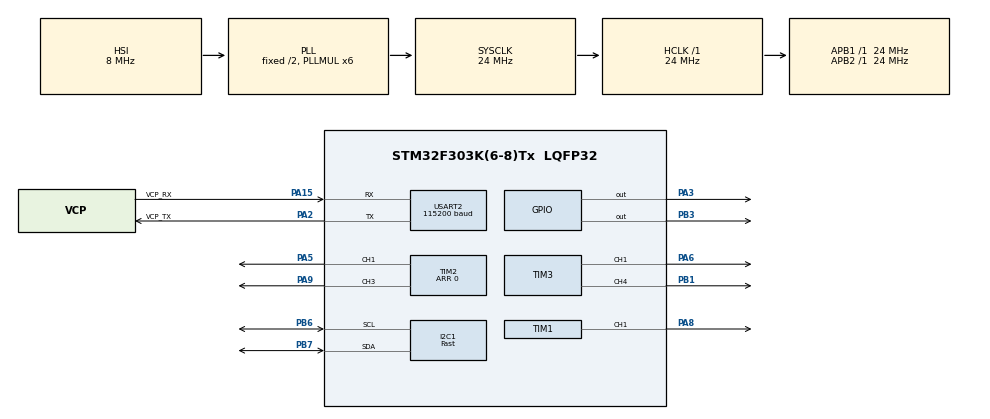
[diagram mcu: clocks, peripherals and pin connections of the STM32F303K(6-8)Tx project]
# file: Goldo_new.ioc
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Dma.Request0=TIM2_CH1
Dma.Request1=TIM2_CH3
Dma.Request2=TIM3_CH1/TRIG
Dma.Request3=TIM3_CH4/UP
Dma.Request4=TIM1_CH1
Dma.TIM1_CH1.4.Direction=DMA_MEMORY_TO_PERIPH
Dma.TIM1_CH1.4.Instance=DMA1_Channel2
Dma.TIM1_CH1.4.MemDataAlignment=DMA_MDATAALIGN_WORD
Dma.TIM1_CH1.4.MemInc=DMA_MINC_ENABLE
Dma.TIM1_CH1.4.Mode=DMA_NORMAL
Dma.TIM1_CH1.4.PeriphDataAlignment=DMA_PDATAALIGN_HALFWORD
Dma.TIM1_CH1.4.PeriphInc=DMA_PINC_DISABLE
Dma.TIM1_CH1.4.Priority=DMA_PRIORITY_HIGH
Dma.TIM2_CH1.0.Direction=DMA_MEMORY_TO_PERIPH
Dma.TIM2_CH1.0.Instance=DMA1_Channel5
Dma.TIM2_CH1.0.MemDataAlignment=DMA_MDATAALIGN_WORD
Dma.TIM2_CH1.0.MemInc=DMA_MINC_ENABLE
Dma.TIM2_CH1.0.Mode=DMA_NORMAL
Dma.TIM2_CH1.0.PeriphDataAlignment=DMA_PDATAALIGN_WORD
Dma.TIM2_CH1.0.PeriphInc=DMA_PINC_DISABLE
Dma.TIM2_CH1.0.Priority=DMA_PRIORITY_HIGH
Dma.TIM2_CH3.1.Direction=DMA_MEMORY_TO_PERIPH
Dma.TIM2_CH3.1.Instance=DMA1_Channel1
Dma.TIM2_CH3.1.MemDataAlignment=DMA_MDATAALIGN_WORD
Dma.TIM2_CH3.1.MemInc=DMA_MINC_ENABLE
Dma.TIM2_CH3.1.Mode=DMA_NORMAL
Dma.TIM2_CH3.1.PeriphDataAlignment=DMA_PDATAALIGN_WORD
Dma.TIM2_CH3.1.PeriphInc=DMA_PINC_DISABLE
Dma.TIM2_CH3.1.Priority=DMA_PRIORITY_HIGH
Dma.TIM3_CH1/TRIG.2.Direction=DMA_MEMORY_TO_PERIPH
Dma.TIM3_CH1/TRIG.2.Instance=DMA1_Channel6
Dma.TIM3_CH1/TRIG.2.MemDataAlignment=DMA_MDATAALIGN_WORD
Dma.TIM3_CH1/TRIG.2.MemInc=DMA_MINC_ENABLE
Dma.TIM3_CH1/TRIG.2.Mode=DMA_NORMAL
Dma.TIM3_CH1/TRIG.2.PeriphDataAlignment=DMA_PDATAALIGN_HALFWORD
Dma.TIM3_CH1/TRIG.2.PeriphInc=DMA_PINC_DISABLE
Dma.TIM3_CH1/TRIG.2.Priority=DMA_PRIORITY_HIGH
Dma.TIM3_CH4/UP.3.Direction=DMA_MEMORY_TO_PERIPH
Dma.TIM3_CH4/UP.3.Instance=DMA1_Channel3
Dma.TIM3_CH4/UP.3.MemDataAlignment=DMA_MDATAALIGN_WORD
Dma.TIM3_CH4/UP.3.MemInc=DMA_MINC_ENABLE
Dma.TIM3_CH4/UP.3.Mode=DMA_NORMAL
Dma.TIM3_CH4/UP.3.PeriphDataAlignment=DMA_PDATAALIGN_HALFWORD
Dma.TIM3_CH4/UP.3.PeriphInc=DMA_PINC_DISABLE
Dma.TIM3_CH4/UP.3.Priority=DMA_PRIORITY_HIGH
I2C1.Analog_Filter=I2C_ANALOGFILTER_DISABLE
I2C1.I2C_Speed_Mode=I2C_Fast
I2C1.Timing=0x0000020C
Mcu.Family=STM32F3
Mcu.Name=STM32F303K(6-8)Tx
Mcu.Package=LQFP32
NVIC.DMA1_Channel1_IRQn=true\:0\:0\:false\:false\:true\:false\:true\:true
NVIC.DMA1_Channel2_IRQn=true\:0\:0\:false\:false\:true\:false\:true\:true
NVIC.DMA1_Channel3_IRQn=true\:0\:0\:false\:false\:true\:false\:true\:true
NVIC.DMA1_Channel5_IRQn=true\:0\:0\:false\:false\:true\:false\:true\:true
NVIC.DMA1_Channel6_IRQn=true\:0\:0\:false\:false\:true\:false\:true\:true
NVIC.PriorityGroup=NVIC_PRIORITYGROUP_4
NVIC.TIM6_DAC1_IRQn=true\:0\:0\:false\:false\:true\:true\:true\:true
PA13.GPIO_Label=SWDIO
PA13.Mode=Serial_Wire
PA13.Signal=SYS_JTMS-SWDIO
PA14.GPIO_Label=SWCLK
PA14.Mode=Serial_Wire
PA14.Signal=SYS_JTCK-SWCLK
PA15.GPIO_Label=VCP_RX
PA15.Mode=Asynchronous
PA15.Signal=USART2_RX
PA2.GPIO_Label=VCP_TX
PA2.Mode=Asynchronous
PA2.Signal=USART2_TX
PA3.Signal=GPIO_Output
PA5.Signal=S_TIM2_CH1_ETR
PA6.Signal=S_TIM3_CH1
PA8.Signal=S_TIM1_CH1
PA9.Signal=S_TIM2_CH3
PB1.Signal=S_TIM3_CH4
PB3.Signal=GPIO_Output
PB6.GPIO_FM6=SYSCFG_CFGR1_I2C_PB6_FMP
PB6.GPIO_Pu=GPIO_NOPULL
PB6.Mode=I2C
PB6.Signal=I2C1_SCL
PB7.GPIO_FM7=SYSCFG_CFGR1_I2C_PB7_FMP
PB7.GPIO_Pu=GPIO_NOPULL
PB7.Mode=I2C
PB7.Signal=I2C1_SDA
ProjectManager.HeapSize=0x200
ProjectManager.StackSize=0x400
ProjectManager.TargetToolchain=Makefile
RCC.AHBFreq_Value=24000000
RCC.APB1Freq_Value=24000000
RCC.APB1TimFreq_Value=24000000
RCC.APB2Freq_Value=24000000
RCC.APB2TimFreq_Value=24000000
RCC.CortexFreq_Value=24000000
RCC.HCLKFreq_Value=24000000
RCC.HSE_VALUE=8000000
RCC.HSI_VALUE=8000000
RCC.PLLMUL=RCC_PLL_MUL6
RCC.SYSCLKFreq_VALUE=24000000
RCC.SYSCLKSourceVirtual=RCC_SYSCLKSOURCE_PLLCLK
SH.S_TIM1_CH1.0=TIM1_CH1,PWM Generation1 CH1
SH.S_TIM2_CH1_ETR.0=TIM2_CH1,PWM Generation1 CH1
SH.S_TIM2_CH3.0=TIM2_CH3,PWM Generation3 CH3
SH.S_TIM3_CH1.0=TIM3_CH1,PWM Generation1 CH1
SH.S_TIM3_CH4.0=TIM3_CH4,PWM Generation4 CH4
TIM1.Channel-PWM\ Generation1\ CH1=TIM_CHANNEL_1
TIM2.Channel-PWM\ Generation1\ CH1=TIM_CHANNEL_1
TIM2.Channel-PWM\ Generation3\ CH3=TIM_CHANNEL_3
TIM2.Period=0
TIM3.Channel-PWM\ Generation1\ CH1=TIM_CHANNEL_1
TIM3.Channel-PWM\ Generation4\ CH4=TIM_CHANNEL_4
TIM6.Period=24
TIM6.Prescaler=1000
USART2.BaudRate=115200
USART2.VirtualMode-Asynchronous=VM_ASYNC
VP_TIM6_VS_ClockSourceINT.Mode=Enable_Timer
board=NUCLEO-F303K8

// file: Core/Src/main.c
/* USER CODE BEGIN Header */
/**
  ******************************************************************************
  * @file           : main.c
  * @brief          : Main program body
  ******************************************************************************
  * @attention
  *
  * Copyright (c) 2023 STMicroelectronics.
  * All rights reserved.
  *
  * This software is licensed under terms that can be found in the LICENSE file
  * in the root directory of this software component.
  * If no LICENSE file comes with this software, it is provided AS-IS.
  *
  ******************************************************************************
  */
/* USER CODE END Header */
#include "main.h"

/* USER CODE BEGIN Includes */
#include "dshot.h"
#include <string.h>
#include <stdio.h>
/* USER CODE END Includes */

/* USER CODE BEGIN PM */
#define DSHOT_SPEED DSHOT150
/* USER CODE END PM */

I2C_HandleTypeDef hi2c1;

TIM_HandleTypeDef htim1;
TIM_HandleTypeDef htim2;
TIM_HandleTypeDef htim3;
TIM_HandleTypeDef htim6;
DMA_HandleTypeDef hdma_tim1_ch1;
DMA_HandleTypeDef hdma_tim2_ch1;
DMA_HandleTypeDef hdma_tim2_ch3;
DMA_HandleTypeDef hdma_tim3_ch1_trig;
DMA_HandleTypeDef hdma_tim3_ch4_up;

UART_HandleTypeDef huart2;

void SystemClock_Config(void);
static void MX_GPIO_Init(void);
static void MX_DMA_Init(void);
static void MX_USART2_UART_Init(void);
static void MX_TIM2_Init(void);
static void MX_TIM6_Init(void);
static void MX_TIM3_Init(void);
static void MX_TIM1_Init(void);
static void MX_I2C1_Init(void);

/* USER CODE BEGIN 0 */
uint8_t uart_buf[32] = "testTESTtestTESTtestTESTtestTEST";
uint16_t my_motor_value[5] = {0, 0, 0, 0, 0};
uint8_t i2c_buf[16] = {0};
/* USER CODE END 0 */

int main(void)
{
  /* USER CODE BEGIN 1 */
  HAL_StatusTypeDef res;
  int msg_len = 0;
  int dshot_idx = 0;

  /* USER CODE END 1 */

  /* MCU Configuration--------------------------------------------------------*/

  /* Reset of all peripherals, Initializes the Flash interface and the Systick. */
  HAL_Init();

  /* Configure the system clock */
  SystemClock_Config();

  /* Initialize all configured peripherals */
  MX_GPIO_Init();
  MX_DMA_Init();
  MX_USART2_UART_Init();
  MX_TIM2_Init();
  MX_TIM6_Init();
  MX_TIM3_Init();
  MX_TIM1_Init();
  MX_I2C1_Init();
  /* USER CODE BEGIN 2 */
  HAL_TIM_Base_Start_IT(&htim6);

  sprintf ((char *)uart_buf, "DSHOT INIT %d\n", DSHOT_SPEED);
  msg_len = strlen((char *)uart_buf);
  if (msg_len>sizeof(uart_buf)) msg_len = sizeof(uart_buf);
  HAL_UART_Transmit(&huart2, uart_buf, msg_len, 100);

  dshot_init(DSHOT_SPEED);

  res = HAL_I2C_Master_Receive(&hi2c1, 0xf1, i2c_buf, 4, 200);
  if (res == HAL_OK)
  {
    sprintf ((char *)uart_buf, "I2C : %d %d %d %d\n", (int)i2c_buf[0], (int)i2c_buf[1], (int)i2c_buf[2], (int)i2c_buf[3]);
    msg_len = strlen((char *)uart_buf);
    if (msg_len>sizeof(uart_buf)) msg_len = sizeof(uart_buf);
    HAL_UART_Transmit(&huart2, uart_buf, msg_len, 100);
  }
  else
  {
    sprintf ((char *)uart_buf, "I2C : ERROR (retrying)\n");
    msg_len = strlen((char *)uart_buf);
    if (msg_len>sizeof(uart_buf)) msg_len = sizeof(uart_buf);
    HAL_UART_Transmit(&huart2, uart_buf, msg_len, 100);

    res = HAL_I2C_Master_Receive(&hi2c1, 0xf1, i2c_buf, 4, 200);
    if (res == HAL_OK)
    {
      sprintf ((char *)uart_buf, "I2C : %d %d %d %d\n", (int)i2c_buf[0], (int)i2c_buf[1], (int)i2c_buf[2], (int)i2c_buf[3]);
      msg_len = strlen((char *)uart_buf);
      if (msg_len>sizeof(uart_buf)) msg_len = sizeof(uart_buf);
      HAL_UART_Transmit(&huart2, uart_buf, msg_len, 100);
    }
    else
    {
      sprintf ((char *)uart_buf, "I2C : ERROR (again)\n");
      msg_len = strlen((char *)uart_buf);
      if (msg_len>sizeof(uart_buf)) msg_len = sizeof(uart_buf);
      HAL_UART_Transmit(&huart2, uart_buf, msg_len, 100);
    }
  }
  /* USER CODE END 2 */

  /* Infinite loop */
  /* USER CODE BEGIN WHILE */
  while (1)
  {
    uart_buf[0] = 0x20;
    res = HAL_UART_Receive(&huart2, uart_buf, 1, 1);
    if (res == HAL_OK)
    {
      if (uart_buf[0]=='t')
      {
        uart_buf[0] = '*';
        HAL_GPIO_TogglePin(GPIOB, GPIO_PIN_3);
        my_motor_value[0] = 0;
        my_motor_value[1] = 0;
        my_motor_value[2] = 0;
        my_motor_value[3] = 0;
        my_motor_value[4] = 0;
      }
      else if ((uart_buf[0]>='0') && (uart_buf[0]<='9'))
      {
        int gain = (uart_buf[0]-0x30);
        //uart_buf[0] = '0';
        my_motor_value[dshot_idx] = gain*100;
      }
      else if (uart_buf[0]=='A')
      {
        dshot_idx = 0;
        uart_buf[0] = 'A';
      }
      else if (uart_buf[0]=='B')
      {
        dshot_idx = 1;
        uart_buf[0] = 'B';
      }
      else if (uart_buf[0]=='C')
      {
        dshot_idx = 2;
        uart_buf[0] = 'C';
      }
      else if (uart_buf[0]=='D')
      {
        dshot_idx = 3;
        uart_buf[0] = 'D';
      }
      else if (uart_buf[0]=='E')
      {
        dshot_idx = 4;
        uart_buf[0] = 'E';
      }
      else
      {
        uart_buf[0] = '/';
      }
      HAL_UART_Transmit(&huart2, uart_buf, 1, 100);
    }
    else if (res != HAL_TIMEOUT)
    {
      uart_buf[0] = '!';
      HAL_UART_Transmit(&huart2, uart_buf, 1, 100);
    }
	  HAL_Delay(200);
    /* USER CODE END WHILE */

  }
}

void SystemClock_Config(void)
{
  RCC_OscInitTypeDef RCC_OscInitStruct = {0};
  RCC_ClkInitTypeDef RCC_ClkInitStruct = {0};
  RCC_PeriphCLKInitTypeDef PeriphClkInit = {0};

  /** Initializes the RCC Oscillators according to the specified parameters
  * in the RCC_OscInitTypeDef structure.
  */
  RCC_OscInitStruct.OscillatorType = RCC_OSCILLATORTYPE_HSI;
  RCC_OscInitStruct.HSIState = RCC_HSI_ON;
  RCC_OscInitStruct.HSICalibrationValue = RCC_HSICALIBRATION_DEFAULT;
  RCC_OscInitStruct.PLL.PLLState = RCC_PLL_ON;
  RCC_OscInitStruct.PLL.PLLSource = RCC_PLLSOURCE_HSI;
  RCC_OscInitStruct.PLL.PLLMUL = RCC_PLL_MUL6;
  if (HAL_RCC_OscConfig(&RCC_OscInitStruct) != HAL_OK)
  {
    Error_Handler();
  }

  /** Initializes the CPU, AHB and APB buses clocks
  */
  RCC_ClkInitStruct.ClockType = RCC_CLOCKTYPE_HCLK|RCC_CLOCKTYPE_SYSCLK
                              |RCC_CLOCKTYPE_PCLK1|RCC_CLOCKTYPE_PCLK2;
  RCC_ClkInitStruct.SYSCLKSource = RCC_SYSCLKSOURCE_PLLCLK;
  RCC_ClkInitStruct.AHBCLKDivider = RCC_SYSCLK_DIV1;
  RCC_ClkInitStruct.APB1CLKDivider = RCC_HCLK_DIV1;
  RCC_ClkInitStruct.APB2CLKDivider = RCC_HCLK_DIV1;

  if (HAL_RCC_ClockConfig(&RCC_ClkInitStruct, FLASH_LATENCY_0) != HAL_OK)
  {
    Error_Handler();
  }
  PeriphClkInit.PeriphClockSelection = RCC_PERIPHCLK_I2C1|RCC_PERIPHCLK_TIM1;
  PeriphClkInit.I2c1ClockSelection = RCC_I2C1CLKSOURCE_HSI;
  PeriphClkInit.Tim1ClockSelection = RCC_TIM1CLK_HCLK;
  if (HAL_RCCEx_PeriphCLKConfig(&PeriphClkInit) != HAL_OK)
  {
    Error_Handler();
  }
}

static void MX_I2C1_Init(void)
{

  hi2c1.Instance = I2C1;
  hi2c1.Init.Timing = 0x0000020C;
  hi2c1.Init.OwnAddress1 = 0;
  hi2c1.Init.AddressingMode = I2C_ADDRESSINGMODE_7BIT;
  hi2c1.Init.DualAddressMode = I2C_DUALADDRESS_DISABLE;
  hi2c1.Init.OwnAddress2 = 0;
  hi2c1.Init.OwnAddress2Masks = I2C_OA2_NOMASK;
  hi2c1.Init.GeneralCallMode = I2C_GENERALCALL_DISABLE;
  hi2c1.Init.NoStretchMode = I2C_NOSTRETCH_DISABLE;
  if (HAL_I2C_Init(&hi2c1) != HAL_OK)
  {
    Error_Handler();
  }

  /** Configure Analogue filter
  */
  if (HAL_I2CEx_ConfigAnalogFilter(&hi2c1, I2C_ANALOGFILTER_DISABLE) != HAL_OK)
  {
    Error_Handler();
  }

  /** Configure Digital filter
  */
  if (HAL_I2CEx_ConfigDigitalFilter(&hi2c1, 0) != HAL_OK)
  {
    Error_Handler();
  }

}

static void MX_TIM1_Init(void)
{

  TIM_MasterConfigTypeDef sMasterConfig = {0};
  TIM_OC_InitTypeDef sConfigOC = {0};
  TIM_BreakDeadTimeConfigTypeDef sBreakDeadTimeConfig = {0};

  htim1.Instance = TIM1;
  htim1.Init.Prescaler = 0;
  htim1.Init.CounterMode = TIM_COUNTERMODE_UP;
  htim1.Init.Period = 65535;
  htim1.Init.ClockDivision = TIM_CLOCKDIVISION_DIV1;
  htim1.Init.RepetitionCounter = 0;
  htim1.Init.AutoReloadPreload = TIM_AUTORELOAD_PRELOAD_DISABLE;
  if (HAL_TIM_PWM_Init(&htim1) != HAL_OK)
  {
    Error_Handler();
  }
  sMasterConfig.MasterOutputTrigger = TIM_TRGO_RESET;
  sMasterConfig.MasterOutputTrigger2 = TIM_TRGO2_RESET;
  sMasterConfig.MasterSlaveMode = TIM_MASTERSLAVEMODE_DISABLE;
  if (HAL_TIMEx_MasterConfigSynchronization(&htim1, &sMasterConfig) != HAL_OK)
  {
    Error_Handler();
  }
  sConfigOC.OCMode = TIM_OCMODE_PWM1;
  sConfigOC.Pulse = 0;
  sConfigOC.OCPolarity = TIM_OCPOLARITY_HIGH;
  sConfigOC.OCNPolarity = TIM_OCNPOLARITY_HIGH;
  sConfigOC.OCFastMode = TIM_OCFAST_DISABLE;
  sConfigOC.OCIdleState = TIM_OCIDLESTATE_RESET;
  sConfigOC.OCNIdleState = TIM_OCNIDLESTATE_RESET;
  if (HAL_TIM_PWM_ConfigChannel(&htim1, &sConfigOC, TIM_CHANNEL_1) != HAL_OK)
  {
    Error_Handler();
  }
  sBreakDeadTimeConfig.OffStateRunMode = TIM_OSSR_DISABLE;
  sBreakDeadTimeConfig.OffStateIDLEMode = TIM_OSSI_DISABLE;
  sBreakDeadTimeConfig.LockLevel = TIM_LOCKLEVEL_OFF;
  sBreakDeadTimeConfig.DeadTime = 0;
  sBreakDeadTimeConfig.BreakState = TIM_BREAK_DISABLE;
  sBreakDeadTimeConfig.BreakPolarity = TIM_BREAKPOLARITY_HIGH;
  sBreakDeadTimeConfig.BreakFilter = 0;
  sBreakDeadTimeConfig.Break2State = TIM_BREAK2_DISABLE;
  sBreakDeadTimeConfig.Break2Polarity = TIM_BREAK2POLARITY_HIGH;
  sBreakDeadTimeConfig.Break2Filter = 0;
  sBreakDeadTimeConfig.AutomaticOutput = TIM_AUTOMATICOUTPUT_DISABLE;
  if (HAL_TIMEx_ConfigBreakDeadTime(&htim1, &sBreakDeadTimeConfig) != HAL_OK)
  {
    Error_Handler();
  }
  HAL_TIM_MspPostInit(&htim1);

}

static void MX_TIM2_Init(void)
{

  TIM_MasterConfigTypeDef sMasterConfig = {0};
  TIM_OC_InitTypeDef sConfigOC = {0};

  htim2.Instance = TIM2;
  htim2.Init.Prescaler = 0;
  htim2.Init.CounterMode = TIM_COUNTERMODE_UP;
  htim2.Init.Period = 0;
  htim2.Init.ClockDivision = TIM_CLOCKDIVISION_DIV1;
  htim2.Init.AutoReloadPreload = TIM_AUTORELOAD_PRELOAD_DISABLE;
  if (HAL_TIM_PWM_Init(&htim2) != HAL_OK)
  {
    Error_Handler();
  }
  sMasterConfig.MasterOutputTrigger = TIM_TRGO_RESET;
  sMasterConfig.MasterSlaveMode = TIM_MASTERSLAVEMODE_DISABLE;
  if (HAL_TIMEx_MasterConfigSynchronization(&htim2, &sMasterConfig) != HAL_OK)
  {
    Error_Handler();
  }
  sConfigOC.OCMode = TIM_OCMODE_PWM1;
  sConfigOC.Pulse = 0;
  sConfigOC.OCPolarity = TIM_OCPOLARITY_HIGH;
  sConfigOC.OCFastMode = TIM_OCFAST_DISABLE;
  if (HAL_TIM_PWM_ConfigChannel(&htim2, &sConfigOC, TIM_CHANNEL_1) != HAL_OK)
  {
    Error_Handler();
  }
  if (HAL_TIM_PWM_ConfigChannel(&htim2, &sConfigOC, TIM_CHANNEL_3) != HAL_OK)
  {
    Error_Handler();
  }
  HAL_TIM_MspPostInit(&htim2);

}

static void MX_TIM3_Init(void)
{

  TIM_MasterConfigTypeDef sMasterConfig = {0};
  TIM_OC_InitTypeDef sConfigOC = {0};

  htim3.Instance = TIM3;
  htim3.Init.Prescaler = 0;
  htim3.Init.CounterMode = TIM_COUNTERMODE_UP;
  htim3.Init.Period = 65535;
  htim3.Init.ClockDivision = TIM_CLOCKDIVISION_DIV1;
  htim3.Init.AutoReloadPreload = TIM_AUTORELOAD_PRELOAD_DISABLE;
  if (HAL_TIM_PWM_Init(&htim3) != HAL_OK)
  {
    Error_Handler();
  }
  sMasterConfig.MasterOutputTrigger = TIM_TRGO_RESET;
  sMasterConfig.MasterSlaveMode = TIM_MASTERSLAVEMODE_DISABLE;
  if (HAL_TIMEx_MasterConfigSynchronization(&htim3, &sMasterConfig) != HAL_OK)
  {
    Error_Handler();
  }
  sConfigOC.OCMode = TIM_OCMODE_PWM1;
  sConfigOC.Pulse = 0;
  sConfigOC.OCPolarity = TIM_OCPOLARITY_HIGH;
  sConfigOC.OCFastMode = TIM_OCFAST_DISABLE;
  if (HAL_TIM_PWM_ConfigChannel(&htim3, &sConfigOC, TIM_CHANNEL_1) != HAL_OK)
  {
    Error_Handler();
  }
  if (HAL_TIM_PWM_ConfigChannel(&htim3, &sConfigOC, TIM_CHANNEL_4) != HAL_OK)
  {
    Error_Handler();
  }
  HAL_TIM_MspPostInit(&htim3);

}

static void MX_TIM6_Init(void)
{

  TIM_MasterConfigTypeDef sMasterConfig = {0};

  htim6.Instance = TIM6;
  htim6.Init.Prescaler = 1000;
  htim6.Init.CounterMode = TIM_COUNTERMODE_UP;
  htim6.Init.Period = 24;
  htim6.Init.AutoReloadPreload = TIM_AUTORELOAD_PRELOAD_DISABLE;
  if (HAL_TIM_Base_Init(&htim6) != HAL_OK)
  {
    Error_Handler();
  }
  sMasterConfig.MasterOutputTrigger = TIM_TRGO_RESET;
  sMasterConfig.MasterSlaveMode = TIM_MASTERSLAVEMODE_DISABLE;
  if (HAL_TIMEx_MasterConfigSynchronization(&htim6, &sMasterConfig) != HAL_OK)
  {
    Error_Handler();
  }

}

static void MX_USART2_UART_Init(void)
{

  huart2.Instance = USART2;
  huart2.Init.BaudRate = 115200;
  huart2.Init.WordLength = UART_WORDLENGTH_8B;
  huart2.Init.StopBits = UART_STOPBITS_1;
  huart2.Init.Parity = UART_PARITY_NONE;
  huart2.Init.Mode = UART_MODE_TX_RX;
  huart2.Init.HwFlowCtl = UART_HWCONTROL_NONE;
  huart2.Init.OverSampling = UART_OVERSAMPLING_16;
  huart2.Init.OneBitSampling = UART_ONE_BIT_SAMPLE_DISABLE;
  huart2.AdvancedInit.AdvFeatureInit = UART_ADVFEATURE_NO_INIT;
  if (HAL_UART_Init(&huart2) != HAL_OK)
  {
    Error_Handler();
  }

}

static void MX_DMA_Init(void)
{

  /* DMA controller clock enable */
  __HAL_RCC_DMA1_CLK_ENABLE();

  /* DMA interrupt init */
  /* DMA1_Channel1_IRQn interrupt configuration */
  HAL_NVIC_SetPriority(DMA1_Channel1_IRQn, 0, 0);
  HAL_NVIC_EnableIRQ(DMA1_Channel1_IRQn);
  /* DMA1_Channel2_IRQn interrupt configuration */
  HAL_NVIC_SetPriority(DMA1_Channel2_IRQn, 0, 0);
  HAL_NVIC_EnableIRQ(DMA1_Channel2_IRQn);
  /* DMA1_Channel3_IRQn interrupt configuration */
  HAL_NVIC_SetPriority(DMA1_Channel3_IRQn, 0, 0);
  HAL_NVIC_EnableIRQ(DMA1_Channel3_IRQn);
  /* DMA1_Channel5_IRQn interrupt configuration */
  HAL_NVIC_SetPriority(DMA1_Channel5_IRQn, 0, 0);
  HAL_NVIC_EnableIRQ(DMA1_Channel5_IRQn);
  /* DMA1_Channel6_IRQn interrupt configuration */
  HAL_NVIC_SetPriority(DMA1_Channel6_IRQn, 0, 0);
  HAL_NVIC_EnableIRQ(DMA1_Channel6_IRQn);

}

static void MX_GPIO_Init(void)
{
  GPIO_InitTypeDef GPIO_InitStruct = {0};

  /* GPIO Ports Clock Enable */
  __HAL_RCC_GPIOA_CLK_ENABLE();
  __HAL_RCC_GPIOB_CLK_ENABLE();

  /*Configure GPIO pin Output Level */
  HAL_GPIO_WritePin(GPIOA, GPIO_PIN_3, GPIO_PIN_RESET);

  /*Configure GPIO pin Output Level */
  HAL_GPIO_WritePin(GPIOB, GPIO_PIN_3, GPIO_PIN_RESET);

  /*Configure GPIO pin : PA3 */
  GPIO_InitStruct.Pin = GPIO_PIN_3;
  GPIO_InitStruct.Mode = GPIO_MODE_OUTPUT_PP;
  GPIO_InitStruct.Pull = GPIO_NOPULL;
  GPIO_InitStruct.Speed = GPIO_SPEED_FREQ_LOW;
  HAL_GPIO_Init(GPIOA, &GPIO_InitStruct);

  /*Configure GPIO pin : PB3 */
  GPIO_InitStruct.Pin = GPIO_PIN_3;
  GPIO_InitStruct.Mode = GPIO_MODE_OUTPUT_PP;
  GPIO_InitStruct.Pull = GPIO_NOPULL;
  GPIO_InitStruct.Speed = GPIO_SPEED_FREQ_LOW;
  HAL_GPIO_Init(GPIOB, &GPIO_InitStruct);

}

/* USER CODE BEGIN 4 */
/**
  * @brief  Period elapsed callback in non blocking mode
  * @param  htim: TIM handle
  * @retval None
  */
void HAL_TIM_PeriodElapsedCallback(TIM_HandleTypeDef *htim)
{
  if (htim->Instance == htim6.Instance)
  {
    HAL_GPIO_TogglePin(GPIOA, GPIO_PIN_3);
    dshot_write(my_motor_value);
  }
}
/* USER CODE END 4 */

void Error_Handler(void)
{
  __disable_irq();
  while (1)
  {
  }
}
